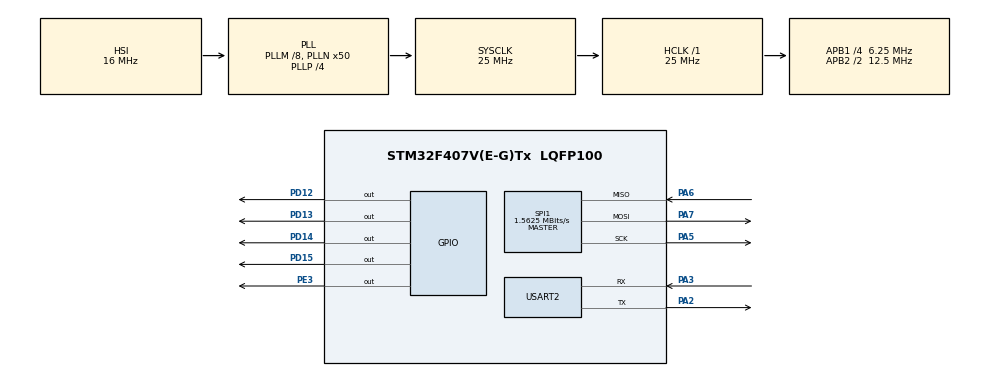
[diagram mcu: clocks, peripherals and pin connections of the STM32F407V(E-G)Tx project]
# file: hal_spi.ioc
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Mcu.Family=STM32F4
Mcu.Name=STM32F407V(E-G)Tx
Mcu.Package=LQFP100
NVIC.PriorityGroup=NVIC_PRIORITYGROUP_0
PA2.Mode=Asynchronous
PA2.Signal=USART2_TX
PA3.Mode=Asynchronous
PA3.Signal=USART2_RX
PA5.Mode=Full_Duplex_Master
PA5.Signal=SPI1_SCK
PA6.Mode=Full_Duplex_Master
PA6.Signal=SPI1_MISO
PA7.Mode=Full_Duplex_Master
PA7.Signal=SPI1_MOSI
PD12.Signal=GPIO_Output
PD13.Signal=GPIO_Output
PD14.Signal=GPIO_Output
PD15.Signal=GPIO_Output
PE3.Signal=GPIO_Output
ProjectManager.HeapSize=0x200
ProjectManager.StackSize=0x400
ProjectManager.TargetToolchain=STM32CubeIDE
RCC.48MHZClocksFreq_Value=14285714.285714285
RCC.AHBFreq_Value=25000000
RCC.APB1CLKDivider=RCC_HCLK_DIV4
RCC.APB1Freq_Value=6250000
RCC.APB1TimFreq_Value=12500000
RCC.APB2CLKDivider=RCC_HCLK_DIV2
RCC.APB2Freq_Value=12500000
RCC.APB2TimFreq_Value=25000000
RCC.CortexFreq_Value=25000000
RCC.HCLKFreq_Value=25000000
RCC.HSE_VALUE=8000000
RCC.HSI_VALUE=16000000
RCC.LSE_VALUE=32768
RCC.PLLM=8
RCC.PLLN=50
RCC.PLLP=RCC_PLLP_DIV4
RCC.PLLQ=7
RCC.SYSCLKFreq_VALUE=25000000
RCC.SYSCLKSource=RCC_SYSCLKSOURCE_PLLCLK
RCC.VCOOutputFreq_Value=100000000
SPI1.BaudRatePrescaler=SPI_BAUDRATEPRESCALER_8
SPI1.CalculateBaudRate=1.5625 MBits/s
SPI1.Direction=SPI_DIRECTION_2LINES
SPI1.Mode=SPI_MODE_MASTER
SPI1.VirtualType=VM_MASTER
USART2.VirtualMode=VM_ASYNC
board=STM32F407G-DISC1

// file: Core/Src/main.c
/* USER CODE BEGIN Header */
/**
  ******************************************************************************
  * @file           : main.c
  * @brief          : Main program body
  ******************************************************************************
  * @attention
  *
  * Copyright (c) 2026 STMicroelectronics.
  * All rights reserved.
  *
  * This software is licensed under terms that can be found in the LICENSE file
  * in the root directory of this software component.
  * If no LICENSE file comes with this software, it is provided AS-IS.
  *
  ******************************************************************************
  */
/* USER CODE END Header */
#include "main.h"

/* USER CODE BEGIN Includes */
#include <stdio.h>
#include <string.h>
#include "lis3dsh.h"
/* USER CODE END Includes */

SPI_HandleTypeDef hspi1;

UART_HandleTypeDef huart2;

void SystemClock_Config(void);
static void MX_GPIO_Init(void);
static void MX_SPI1_Init(void);
static void MX_USART2_UART_Init(void);

int main(void)
{

  /* MCU Configuration--------------------------------------------------------*/

  /* Reset of all peripherals, Initializes the Flash interface and the Systick. */
  HAL_Init();

  /* Configure the system clock */
  SystemClock_Config();

  /* Initialize all configured peripherals */
  MX_GPIO_Init();
  MX_SPI1_Init();
  MX_USART2_UART_Init();
  /* USER CODE BEGIN 2 */
  HAL_UART_Transmit(&huart2, (uint8_t*)"LIS3DSH Accel Demo!\r\n", 21, HAL_MAX_DELAY);
  accel_init();
  /* USER CODE END 2 */

  /* Infinite loop */
  /* USER CODE BEGIN WHILE */
  while (1)
  {
	  char str[40];
	  AccelRead_t val = accel_get_xyz();
	  sprintf(str, "X=%d,Y=%d,Z=%d\r\n", val.x, val.y, val.z);
	  HAL_GPIO_WritePin(GPIOD, GPIO_PIN_15, GPIO_PIN_RESET);
	  HAL_GPIO_WritePin(GPIOD, GPIO_PIN_14, GPIO_PIN_RESET);
	  HAL_GPIO_WritePin(GPIOD, GPIO_PIN_13, GPIO_PIN_RESET);
	  HAL_GPIO_WritePin(GPIOD, GPIO_PIN_12, GPIO_PIN_RESET);
	  if(val.y < -3000)
	  {
		  HAL_GPIO_WritePin(GPIOD, GPIO_PIN_15, GPIO_PIN_SET);
	  }
	  else if(val.y > 3000)
	 	  {
	 		  HAL_GPIO_WritePin(GPIOD, GPIO_PIN_13, GPIO_PIN_SET);
	 	  }
	  else if(val.x < -3000)
	  	 	  {
	  	 		  HAL_GPIO_WritePin(GPIOD, GPIO_PIN_12, GPIO_PIN_SET);
	  	 	  }
	  else if(val.x >3000)
	  	 	  {
	  	 		  HAL_GPIO_WritePin(GPIOD, GPIO_PIN_14, GPIO_PIN_SET);
	  	 	  }

	  //HAL_UART_Transmit(&huart2, (uint8_t*)str, strlen(str), HAL_MAX_DELAY);
	  HAL_Delay(1);
    /* USER CODE END WHILE */

  }
}

void SystemClock_Config(void)
{
  RCC_OscInitTypeDef RCC_OscInitStruct = {0};
  RCC_ClkInitTypeDef RCC_ClkInitStruct = {0};

  /** Configure the main internal regulator output voltage
  */
  __HAL_RCC_PWR_CLK_ENABLE();
  __HAL_PWR_VOLTAGESCALING_CONFIG(PWR_REGULATOR_VOLTAGE_SCALE1);

  /** Initializes the RCC Oscillators according to the specified parameters
  * in the RCC_OscInitTypeDef structure.
  */
  RCC_OscInitStruct.OscillatorType = RCC_OSCILLATORTYPE_HSI;
  RCC_OscInitStruct.HSIState = RCC_HSI_ON;
  RCC_OscInitStruct.HSICalibrationValue = RCC_HSICALIBRATION_DEFAULT;
  RCC_OscInitStruct.PLL.PLLState = RCC_PLL_ON;
  RCC_OscInitStruct.PLL.PLLSource = RCC_PLLSOURCE_HSI;
  RCC_OscInitStruct.PLL.PLLM = 8;
  RCC_OscInitStruct.PLL.PLLN = 50;
  RCC_OscInitStruct.PLL.PLLP = RCC_PLLP_DIV4;
  RCC_OscInitStruct.PLL.PLLQ = 7;
  if (HAL_RCC_OscConfig(&RCC_OscInitStruct) != HAL_OK)
  {
    Error_Handler();
  }

  /** Initializes the CPU, AHB and APB buses clocks
  */
  RCC_ClkInitStruct.ClockType = RCC_CLOCKTYPE_HCLK|RCC_CLOCKTYPE_SYSCLK
                              |RCC_CLOCKTYPE_PCLK1|RCC_CLOCKTYPE_PCLK2;
  RCC_ClkInitStruct.SYSCLKSource = RCC_SYSCLKSOURCE_PLLCLK;
  RCC_ClkInitStruct.AHBCLKDivider = RCC_SYSCLK_DIV1;
  RCC_ClkInitStruct.APB1CLKDivider = RCC_HCLK_DIV4;
  RCC_ClkInitStruct.APB2CLKDivider = RCC_HCLK_DIV2;

  if (HAL_RCC_ClockConfig(&RCC_ClkInitStruct, FLASH_LATENCY_0) != HAL_OK)
  {
    Error_Handler();
  }
}

static void MX_SPI1_Init(void)
{

  /* SPI1 parameter configuration*/
  hspi1.Instance = SPI1;
  hspi1.Init.Mode = SPI_MODE_MASTER;
  hspi1.Init.Direction = SPI_DIRECTION_2LINES;
  hspi1.Init.DataSize = SPI_DATASIZE_8BIT;
  hspi1.Init.CLKPolarity = SPI_POLARITY_LOW;
  hspi1.Init.CLKPhase = SPI_PHASE_1EDGE;
  hspi1.Init.NSS = SPI_NSS_SOFT;
  hspi1.Init.BaudRatePrescaler = SPI_BAUDRATEPRESCALER_8;
  hspi1.Init.FirstBit = SPI_FIRSTBIT_MSB;
  hspi1.Init.TIMode = SPI_TIMODE_DISABLE;
  hspi1.Init.CRCCalculation = SPI_CRCCALCULATION_DISABLE;
  hspi1.Init.CRCPolynomial = 10;
  if (HAL_SPI_Init(&hspi1) != HAL_OK)
  {
    Error_Handler();
  }

}

static void MX_USART2_UART_Init(void)
{

  huart2.Instance = USART2;
  huart2.Init.BaudRate = 115200;
  huart2.Init.WordLength = UART_WORDLENGTH_8B;
  huart2.Init.StopBits = UART_STOPBITS_1;
  huart2.Init.Parity = UART_PARITY_NONE;
  huart2.Init.Mode = UART_MODE_TX_RX;
  huart2.Init.HwFlowCtl = UART_HWCONTROL_NONE;
  huart2.Init.OverSampling = UART_OVERSAMPLING_16;
  if (HAL_UART_Init(&huart2) != HAL_OK)
  {
    Error_Handler();
  }

}

static void MX_GPIO_Init(void)
{
  GPIO_InitTypeDef GPIO_InitStruct = {0};

  /* GPIO Ports Clock Enable */
  __HAL_RCC_GPIOE_CLK_ENABLE();
  __HAL_RCC_GPIOA_CLK_ENABLE();
  __HAL_RCC_GPIOD_CLK_ENABLE();

  /*Configure GPIO pin Output Level */
  HAL_GPIO_WritePin(GPIOE, GPIO_PIN_3, GPIO_PIN_RESET);

  /*Configure GPIO pin Output Level */
  HAL_GPIO_WritePin(GPIOD, GPIO_PIN_12|GPIO_PIN_13|GPIO_PIN_14|GPIO_PIN_15, GPIO_PIN_RESET);

  /*Configure GPIO pin : PE3 */
  GPIO_InitStruct.Pin = GPIO_PIN_3;
  GPIO_InitStruct.Mode = GPIO_MODE_OUTPUT_PP;
  GPIO_InitStruct.Pull = GPIO_NOPULL;
  GPIO_InitStruct.Speed = GPIO_SPEED_FREQ_LOW;
  HAL_GPIO_Init(GPIOE, &GPIO_InitStruct);

  /*Configure GPIO pins : PD12 PD13 PD14 PD15 */
  GPIO_InitStruct.Pin = GPIO_PIN_12|GPIO_PIN_13|GPIO_PIN_14|GPIO_PIN_15;
  GPIO_InitStruct.Mode = GPIO_MODE_OUTPUT_PP;
  GPIO_InitStruct.Pull = GPIO_NOPULL;
  GPIO_InitStruct.Speed = GPIO_SPEED_FREQ_LOW;
  HAL_GPIO_Init(GPIOD, &GPIO_InitStruct);

}

void Error_Handler(void)
{
  __disable_irq();
  while (1)
  {
  }
}
